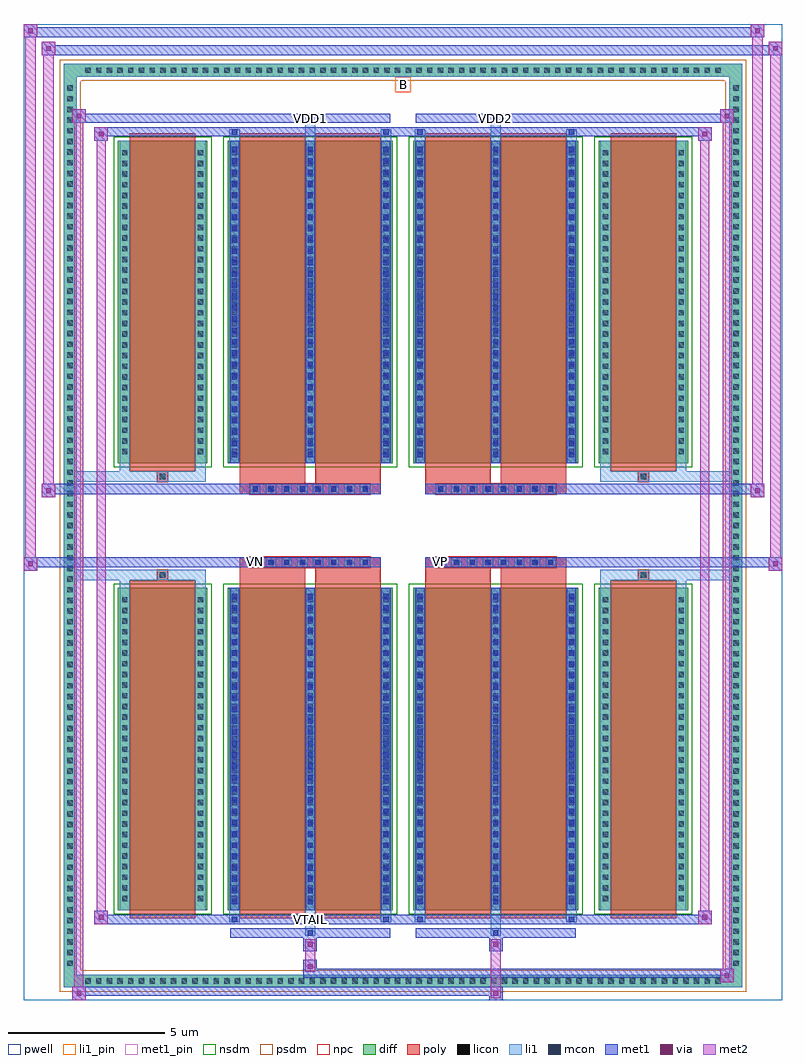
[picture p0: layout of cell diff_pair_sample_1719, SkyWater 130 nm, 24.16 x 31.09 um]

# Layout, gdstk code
import gdstk
lib = gdstk.Library(unit=1e-6, precision=5e-09)
def R(c, l, rs):  # rectangles x0, y0, x1, y1
    for r in rs: c.add(gdstk.rectangle(r[:2], r[2:], *l))
def A(c, l, x, y, w, h, nx, ny, dx, dy):  # array of equal rectangles
    R(c, l, [(x+i*dx, y+j*dy, x+i*dx+w, y+j*dy+h) for i in range(nx) for j in range(ny)])
def P(c, l, *ps):  # polygons
    for p in ps: c.add(gdstk.Polygon(p, *l))
pwell = (64, 44)
diff = (65, 20)
poly = (66, 20)
licon = (66, 44)
li1_pin = (67, 16)
li1 = (67, 20)
mcon = (67, 44)
met1_pin = (68, 16)
met1 = (68, 20)
via = (68, 44)
met2 = (69, 20)
nsdm = (93, 44)
psdm = (94, 20)
npc = (95, 20)

diff_pair_sample_1719 = lib.new_cell('diff_pair_sample_1719')
R(diff_pair_sample_1719, pwell, [(-12.08,-15.11,12.08,15.98), (-9.4,-13.3,-0.01,-0.8), (0.01,-13.3,9.4,-0.8), (-9.4,0.8,-0.01,13.3), (0.01,0.8,9.4,13.3)])
A(diff_pair_sample_1719, diff, -10.235, -14.71, 0.41, 0.41, 60, 2, 0.34, 29.01)
A(diff_pair_sample_1719, diff, -10.81, -14.145, 0.41, 0.41, 1, 83, 0, 0.34)
A(diff_pair_sample_1719, diff, 10.4, -14.145, 0.41, 0.41, 1, 83, 0, 0.34)
R(diff_pair_sample_1719, diff, [(-10.235,-14.71,10.235,-14.3), (-10.81,-14.145,-10.4,14.145), (10.4,-14.145,10.81,14.145), (-9.09,-12.255,-6.23,-1.985), (-5.59,-12.255,-0.32,-1.985), (0.32,-12.255,5.59,-1.985), (6.23,-12.255,9.09,-1.985), (-9.09,1.985,-6.23,12.255), (-5.59,1.985,-0.32,12.255), (0.32,1.985,5.59,12.255), (6.23,1.985,9.09,12.255), (-10.235,14.3,10.235,14.71)])
P(diff_pair_sample_1719, diff, [(10.81,14.71),(-10.81,14.71),(-10.81,-14.3),(-10.4,-14.3),(-10.4,14.3),(10.4,14.3),(10.4,-14.3),(-10.4,-14.3),(-10.81,-14.3),(-10.81,-14.71),(10.81,-14.71)])
A(diff_pair_sample_1719, poly, -4.87, -1.33, 0.33, 0.33, 8, 2, 0.5, 2.33)
A(diff_pair_sample_1719, poly, 1.04, -1.33, 0.33, 0.33, 8, 2, 0.5, 2.33)
R(diff_pair_sample_1719, poly, [(-8.7,-12.505,-6.62,-1.735), (-5.2,-12.505,-3.12,-1.735), (-2.79,-12.505,-0.71,-1.735), (0.71,-12.505,2.79,-1.735), (3.12,-12.505,5.2,-1.735), (6.62,-12.505,8.7,-1.735), (-7.825,-1.735,-7.495,-1.405), (-7.825,-1.735,-7.495,-1.405), (-5.2,-1.735,-3.12,-1.33), (-2.79,-1.735,-0.71,-1.33), (0.71,-1.735,2.79,-1.33), (3.12,-1.735,5.2,-1.33), (7.495,-1.735,7.825,-1.405), (7.495,-1.735,7.825,-1.405), (-5.2,-1.33,-0.71,-1), (0.71,-1.33,5.2,-1), (-5.2,1,-0.71,1.33), (0.71,1,5.2,1.33), (-5.2,1.33,-3.12,1.735), (-2.79,1.33,-0.71,1.735), (0.71,1.33,2.79,1.735), (3.12,1.33,5.2,1.735), (-7.825,1.405,-7.495,1.735), (-7.825,1.405,-7.495,1.735), (7.495,1.405,7.825,1.735), (7.495,1.405,7.825,1.735), (-8.7,1.735,-6.62,12.505), (-5.2,1.735,-3.12,12.505), (-2.79,1.735,-0.71,12.505), (0.71,1.735,2.79,12.505), (3.12,1.735,5.2,12.505), (6.62,1.735,8.7,12.505)])
A(diff_pair_sample_1719, licon, -10.115, -14.59, 0.17, 0.17, 60, 2, 0.34, 29.01)
A(diff_pair_sample_1719, licon, -10.69, -14.025, 0.17, 0.17, 1, 83, 0, 0.34)
A(diff_pair_sample_1719, licon, 10.52, -14.025, 0.17, 0.17, 1, 83, 0, 0.34)
A(diff_pair_sample_1719, licon, -8.95, -11.965, 0.17, 0.17, 1, 29, 0, 0.34)
A(diff_pair_sample_1719, licon, -6.54, -11.965, 0.17, 0.17, 1, 29, 0, 0.34)
A(diff_pair_sample_1719, licon, -5.45, -11.965, 0.17, 0.17, 3, 29, 2.41, 0.34)
A(diff_pair_sample_1719, licon, 0.46, -11.965, 0.17, 0.17, 3, 29, 2.41, 0.34)
A(diff_pair_sample_1719, licon, 6.37, -11.965, 0.17, 0.17, 1, 29, 0, 0.34)
A(diff_pair_sample_1719, licon, 8.78, -11.965, 0.17, 0.17, 1, 29, 0, 0.34)
A(diff_pair_sample_1719, licon, -4.79, -1.25, 0.17, 0.17, 8, 2, 0.5, 2.33)
A(diff_pair_sample_1719, licon, 1.12, -1.25, 0.17, 0.17, 8, 2, 0.5, 2.33)
A(diff_pair_sample_1719, licon, -8.95, 2.275, 0.17, 0.17, 1, 29, 0, 0.34)
A(diff_pair_sample_1719, licon, -6.54, 2.275, 0.17, 0.17, 1, 29, 0, 0.34)
A(diff_pair_sample_1719, licon, -5.45, 2.275, 0.17, 0.17, 3, 29, 2.41, 0.34)
A(diff_pair_sample_1719, licon, 0.46, 2.275, 0.17, 0.17, 3, 29, 2.41, 0.34)
A(diff_pair_sample_1719, licon, 6.37, 2.275, 0.17, 0.17, 1, 29, 0, 0.34)
A(diff_pair_sample_1719, licon, 8.78, 2.275, 0.17, 0.17, 1, 29, 0, 0.34)
R(diff_pair_sample_1719, licon, [(-7.745,-1.655,-7.575,-1.485), (7.575,-1.655,7.745,-1.485), (-7.745,1.485,-7.575,1.655), (7.575,1.485,7.745,1.655)])
R(diff_pair_sample_1719, li1_pin, [(-0.25,13.8,0.25,14.3)])
A(diff_pair_sample_1719, li1, -10.195, -14.67, 0.33, 0.33, 60, 2, 0.34, 29.01)
A(diff_pair_sample_1719, li1, -10.77, -14.105, 0.33, 0.33, 1, 83, 0, 0.34)
A(diff_pair_sample_1719, li1, 10.44, -14.105, 0.33, 0.33, 1, 83, 0, 0.34)
A(diff_pair_sample_1719, li1, -5.53, -12.255, 0.33, 10.27, 3, 2, 2.41, 14.24)
A(diff_pair_sample_1719, li1, 0.38, -12.255, 0.33, 10.27, 3, 2, 2.41, 14.24)
A(diff_pair_sample_1719, li1, -5.45, -12.065, 0.17, 0.17, 3, 28, 2.41, 0.36)
A(diff_pair_sample_1719, li1, -5.45, -12.065, 0.17, 9.89, 3, 2, 2.41, 14.24)
A(diff_pair_sample_1719, li1, 0.46, -12.065, 0.17, 0.17, 3, 28, 2.41, 0.36)
A(diff_pair_sample_1719, li1, 0.46, -12.065, 0.17, 9.89, 3, 2, 2.41, 14.24)
A(diff_pair_sample_1719, li1, -9.03, -12.045, 0.33, 0.33, 1, 29, 0, 0.34)
A(diff_pair_sample_1719, li1, -6.62, -12.045, 0.33, 0.33, 1, 29, 0, 0.34)
A(diff_pair_sample_1719, li1, -5.53, -12.045, 0.33, 0.33, 3, 29, 2.41, 0.34)
A(diff_pair_sample_1719, li1, 0.38, -12.045, 0.33, 0.33, 3, 29, 2.41, 0.34)
A(diff_pair_sample_1719, li1, 6.29, -12.045, 0.33, 0.33, 1, 29, 0, 0.34)
A(diff_pair_sample_1719, li1, 8.7, -12.045, 0.33, 0.33, 1, 29, 0, 0.34)
A(diff_pair_sample_1719, li1, -4.87, -1.33, 0.33, 0.33, 8, 2, 0.5, 2.33)
A(diff_pair_sample_1719, li1, 1.04, -1.33, 0.33, 0.33, 8, 2, 0.5, 2.33)
A(diff_pair_sample_1719, li1, -5.45, 2.175, 0.17, 0.17, 3, 28, 2.41, 0.36)
A(diff_pair_sample_1719, li1, 0.46, 2.175, 0.17, 0.17, 3, 28, 2.41, 0.36)
A(diff_pair_sample_1719, li1, -9.03, 2.195, 0.33, 0.33, 1, 29, 0, 0.34)
A(diff_pair_sample_1719, li1, -6.62, 2.195, 0.33, 0.33, 1, 29, 0, 0.34)
A(diff_pair_sample_1719, li1, -5.53, 2.195, 0.33, 0.33, 3, 29, 2.41, 0.34)
A(diff_pair_sample_1719, li1, 0.38, 2.195, 0.33, 0.33, 3, 29, 2.41, 0.34)
A(diff_pair_sample_1719, li1, 6.29, 2.195, 0.33, 0.33, 1, 29, 0, 0.34)
A(diff_pair_sample_1719, li1, 8.7, 2.195, 0.33, 0.33, 1, 29, 0, 0.34)
R(diff_pair_sample_1719, li1, [(-10.81,-14.71,-10.4,-14.3), (-10.81,-14.71,-10.4,-14.3), (-10.4,-14.71,10.4,-14.3), (10.4,-14.71,10.81,-14.3), (10.4,-14.71,10.81,-14.3), (-10.81,-14.3,-10.4,14.3), (10.4,-14.3,10.81,14.3), (-3.12,-13.06,-2.79,-12.255), (-3.04,-13.06,-2.87,-12.89), (2.79,-13.06,3.12,-12.255), (2.87,-13.06,3.04,-12.89), (-5.53,-12.63,-5.2,-12.255), (-5.45,-12.63,-5.28,-12.46), (-0.71,-12.63,-0.38,-12.255), (-0.63,-12.63,-0.46,-12.46), (0.38,-12.63,0.71,-12.255), (0.46,-12.63,0.63,-12.46), (5.2,-12.63,5.53,-12.255), (5.28,-12.63,5.45,-12.46), (-9.03,-12.255,-8.7,-1.985), (-6.62,-12.255,-6.29,-1.985), (6.29,-12.255,6.62,-1.985), (8.7,-12.255,9.03,-1.985), (-9.03,-1.985,-8.7,-1.405), (-6.62,-1.985,-6.29,-1.405), (6.29,-1.985,6.62,-1.405), (8.7,-1.985,9.03,-1.405), (-10.81,-1.735,-7.825,-1.405), (-9.03,-1.735,-7.825,-1.405), (-7.825,-1.735,-7.495,-1.405), (-7.495,-1.735,-6.29,-1.405), (6.29,-1.735,7.495,-1.405), (7.495,-1.735,7.825,-1.405), (7.495,-1.735,10.81,-1.405), (7.825,-1.735,9.03,-1.405), (-10.81,1.405,-7.825,1.735), (-9.03,1.405,-7.825,1.735), (-9.03,1.405,-8.7,1.985), (-7.825,1.405,-7.495,1.735), (-7.495,1.405,-6.29,1.735), (-6.62,1.405,-6.29,1.985), (6.29,1.405,7.495,1.735), (6.29,1.405,6.62,1.985), (7.495,1.405,7.825,1.735), (7.495,1.405,10.81,1.735), (7.825,1.405,9.03,1.735), (8.7,1.405,9.03,1.985), (-9.03,1.985,-8.7,12.255), (-6.62,1.985,-6.29,12.255), (6.29,1.985,6.62,12.255), (8.7,1.985,9.03,12.255), (-5.53,12.255,-5.2,12.63), (-3.12,12.255,-2.79,13.06), (-0.71,12.255,-0.38,12.63), (0.38,12.255,0.71,12.63), (2.79,12.255,3.12,13.06), (5.2,12.255,5.53,12.63), (-5.45,12.46,-5.28,12.63), (-0.63,12.46,-0.46,12.63), (0.46,12.46,0.63,12.63), (5.28,12.46,5.45,12.63), (-3.04,12.89,-2.87,13.06), (2.87,12.89,3.04,13.06), (-10.81,14.3,-10.4,14.71), (-10.81,14.3,-10.4,14.71), (-10.4,14.3,10.4,14.71), (10.4,14.3,10.81,14.71), (10.4,14.3,10.81,14.71)])
A(diff_pair_sample_1719, mcon, -5.45, -12.065, 0.17, 0.17, 3, 28, 2.41, 0.36)
A(diff_pair_sample_1719, mcon, 0.46, -12.065, 0.17, 0.17, 3, 28, 2.41, 0.36)
A(diff_pair_sample_1719, mcon, -4.79, -1.25, 0.17, 0.17, 8, 2, 0.5, 2.33)
A(diff_pair_sample_1719, mcon, 1.12, -1.25, 0.17, 0.17, 8, 2, 0.5, 2.33)
A(diff_pair_sample_1719, mcon, -5.45, 2.175, 0.17, 0.17, 3, 28, 2.41, 0.36)
A(diff_pair_sample_1719, mcon, 0.46, 2.175, 0.17, 0.17, 3, 28, 2.41, 0.36)
R(diff_pair_sample_1719, mcon, [(-3.04,-13.06,-2.87,-12.89), (2.87,-13.06,3.04,-12.89), (-5.45,-12.63,-5.28,-12.46), (-0.63,-12.63,-0.46,-12.46), (0.46,-12.63,0.63,-12.46), (5.28,-12.63,5.45,-12.46), (-5.45,12.46,-5.28,12.63), (-0.63,12.46,-0.46,12.63), (0.46,12.46,0.63,12.63), (5.28,12.46,5.45,12.63), (-3.04,12.89,-2.87,13.06), (2.87,12.89,3.04,13.06)])
R(diff_pair_sample_1719, met1_pin, [(-3.09,-12.67,-2.82,-12.4), (-4.84,-1.29,-4.57,-1.02), (1.07,-1.29,1.34,-1.02), (-3.09,12.85,-2.82,13.12), (2.82,12.85,3.09,13.12)])
A(diff_pair_sample_1719, met1, -5.51, -12.255, 0.29, 10.27, 3, 2, 2.41, 14.24)
A(diff_pair_sample_1719, met1, 0.4, -12.255, 0.29, 10.27, 3, 2, 2.41, 14.24)
A(diff_pair_sample_1719, met1, -5.51, -12.125, 0.29, 0.29, 3, 28, 2.41, 0.36)
A(diff_pair_sample_1719, met1, 0.4, -12.125, 0.29, 0.29, 3, 28, 2.41, 0.36)
A(diff_pair_sample_1719, met1, -4.85, -1.31, 0.29, 0.29, 8, 2, 0.5, 2.33)
A(diff_pair_sample_1719, met1, 1.06, -1.31, 0.29, 0.29, 8, 2, 0.5, 2.33)
A(diff_pair_sample_1719, met1, -5.51, 2.115, 0.29, 0.29, 3, 28, 2.41, 0.36)
A(diff_pair_sample_1719, met1, 0.4, 2.115, 0.29, 0.29, 3, 28, 2.41, 0.36)
R(diff_pair_sample_1719, met1, [(-10.54,-15.11,-10.11,-14.68), (2.74,-15.11,3.17,-14.68), (-10.54,-14.97,3.17,-14.68), (10.11,-14.54,10.54,-14.11), (-3.17,-14.4,10.54,-14.11), (-3.17,-14.26,-2.74,-13.83), (-3.17,-13.55,-2.74,-13.12), (2.74,-13.55,3.17,-13.12), (-5.51,-13.12,-0.4,-12.83), (-3.1,-13.12,-2.81,-12.83), (0.4,-13.12,5.51,-12.83), (2.81,-13.12,3.1,-12.83), (-9.83,-12.69,-9.4,-12.26), (-9.83,-12.69,-5.51,-12.4), (-5.51,-12.69,-5.22,-12.4), (-5.51,-12.69,-0.4,-12.4), (-0.69,-12.69,-0.4,-12.4), (-0.4,-12.69,0.4,-12.4), (0.4,-12.69,0.69,-12.4), (0.4,-12.69,5.51,-12.4), (5.22,-12.69,5.51,-12.4), (5.51,-12.69,9.83,-12.4), (9.4,-12.69,9.83,-12.26), (-12.08,-1.43,-11.65,-1), (11.65,-1.43,12.08,-1), (-12.08,-1.33,-0.71,-1), (-5.2,-1.33,-0.71,-1), (0.71,-1.33,5.2,-1), (0.71,-1.33,12.08,-1), (-11.51,0.9,-11.08,1.33), (11.08,0.9,11.51,1.33), (-11.51,1,-5.2,1.33), (-5.2,1,-0.71,1.33), (0.71,1,5.2,1.33), (5.2,1,11.51,1.33), (-9.83,12.26,-9.4,12.69), (9.4,12.26,9.83,12.69), (-9.83,12.4,-5.51,12.69), (-5.51,12.4,-5.22,12.69), (-5.51,12.4,-0.4,12.69), (-0.69,12.4,-0.4,12.69), (-0.4,12.4,0.4,12.69), (0.4,12.4,0.69,12.69), (0.4,12.4,5.51,12.69), (5.22,12.4,5.51,12.69), (5.51,12.4,9.83,12.69), (-10.54,12.83,-10.11,13.26), (-10.54,12.83,-5.51,13.12), (-5.51,12.83,-0.4,13.12), (-3.1,12.83,-2.81,13.12), (0.4,12.83,5.51,13.12), (2.81,12.83,3.1,13.12), (5.51,12.83,10.54,13.12), (10.11,12.83,10.54,13.26), (-11.51,14.98,-11.08,15.41), (-11.51,14.98,-9.4,15.31), (-9.4,14.98,9.4,15.31), (9.4,14.98,12.08,15.31), (11.65,14.98,12.08,15.41), (-12.08,15.55,-11.65,15.98), (-12.08,15.55,-9.4,15.88), (-9.4,15.55,9.4,15.88), (9.4,15.55,11.51,15.88), (11.08,15.55,11.51,15.98)])
R(diff_pair_sample_1719, via, [(-10.4,-14.97,-10.25,-14.82), (2.88,-14.97,3.03,-14.82), (10.25,-14.4,10.4,-14.25), (-3.03,-14.12,-2.88,-13.97), (-3.03,-13.41,-2.88,-13.26), (2.88,-13.41,3.03,-13.26), (-9.69,-12.55,-9.54,-12.4), (9.54,-12.55,9.69,-12.4), (-11.94,-1.29,-11.79,-1.14), (11.79,-1.29,11.94,-1.14), (-11.37,1.04,-11.22,1.19), (11.22,1.04,11.37,1.19), (-9.69,12.4,-9.54,12.55), (9.54,12.4,9.69,12.55), (-10.4,12.97,-10.25,13.12), (10.25,12.97,10.4,13.12), (-11.37,15.12,-11.22,15.27), (11.79,15.12,11.94,15.27), (-11.94,15.69,-11.79,15.84), (11.22,15.69,11.37,15.84)])
R(diff_pair_sample_1719, met2, [(-10.54,-15.11,-10.11,-14.68), (-10.47,-15.11,-10.18,13.26), (-10.18,-15.11,-10.11,-14.68), (-10.49,-15.06,-10.16,-14.73), (2.79,-15.06,3.12,-14.73), (2.79,-14.73,3.12,-13.5), (10.11,-14.54,10.54,-14.11), (10.18,-14.54,10.47,13.26), (10.47,-14.54,10.54,-14.11), (10.16,-14.49,10.49,-14.16), (-3.12,-14.21,-2.79,-13.88), (-3.12,-13.88,-2.79,-13.5), (-3.12,-13.5,-2.79,-13.17), (2.79,-13.5,3.12,-13.17), (-9.83,-12.69,-9.4,-12.26), (-9.76,-12.69,-9.47,12.69), (-9.47,-12.69,-9.4,-12.26), (9.4,-12.69,9.83,-12.26), (9.47,-12.69,9.76,12.69), (9.76,-12.69,9.83,-12.26), (-9.78,-12.64,-9.45,-12.31), (9.45,-12.64,9.78,-12.31), (-12.08,-1.43,-11.65,-1), (-12.03,-1.43,-11.7,15.98), (-11.7,-1.43,-11.65,-1), (11.65,-1.43,12.08,-1), (11.7,-1.43,12.03,15.41), (12.03,-1.43,12.08,-1), (-12.03,-1.38,-11.7,-1.05), (11.7,-1.38,12.03,-1.05), (-11.51,0.9,-11.08,1.33), (-11.46,0.9,-11.13,15.41), (-11.13,0.9,-11.08,1.33), (11.08,0.9,11.51,1.33), (11.13,0.9,11.46,15.98), (11.46,0.9,11.51,1.33), (-11.46,0.95,-11.13,1.28), (11.13,0.95,11.46,1.28), (-9.83,12.26,-9.4,12.69), (-9.47,12.26,-9.4,12.69), (9.4,12.26,9.83,12.69), (9.76,12.26,9.83,12.69), (-9.78,12.31,-9.45,12.64), (9.45,12.31,9.78,12.64), (-10.54,12.83,-10.11,13.26), (-10.18,12.83,-10.11,13.26), (10.11,12.83,10.54,13.26), (10.47,12.83,10.54,13.26), (-10.49,12.88,-10.16,13.21), (10.16,12.88,10.49,13.21), (-11.51,14.98,-11.08,15.41), (-11.13,14.98,-11.08,15.41), (11.65,14.98,12.08,15.41), (12.03,14.98,12.08,15.41), (-11.46,15.03,-11.13,15.36), (11.7,15.03,12.03,15.36), (-12.08,15.55,-11.65,15.98), (-11.7,15.55,-11.65,15.98), (11.08,15.55,11.51,15.98), (11.46,15.55,11.51,15.98), (-12.03,15.6,-11.7,15.93), (11.13,15.6,11.46,15.93)])
R(diff_pair_sample_1719, nsdm, [(-9.22,-12.385,-6.1,-1.855), (-5.72,-12.385,-0.19,-1.855), (0.19,-12.385,5.72,-1.855), (6.1,-12.385,9.22,-1.855), (-9.22,1.855,-6.1,12.385), (-5.72,1.855,-0.19,12.385), (0.19,1.855,5.72,12.385), (6.1,1.855,9.22,12.385)])
P(diff_pair_sample_1719, psdm, [(10.94,14.84),(-10.94,14.84),(-10.94,-14.17),(-10.27,-14.17),(-10.27,14.17),(10.27,14.17),(10.27,-14.17),(-10.27,-14.17),(-10.94,-14.17),(-10.94,-14.84),(10.94,-14.84)])
A(diff_pair_sample_1719, npc, -4.89, -1.35, 0.37, 0.37, 8, 2, 0.5, 2.33)
A(diff_pair_sample_1719, npc, 1.02, -1.35, 0.37, 0.37, 8, 2, 0.5, 2.33)
R(diff_pair_sample_1719, npc, [(-7.845,-1.755,-7.475,-1.385), (7.475,-1.755,7.845,-1.385), (-4.89,-1.35,-4.02,-0.98), (-4.89,-1.35,-4.02,-0.98), (-4.39,-1.35,-3.52,-0.98), (-4.39,-1.35,-3.52,-0.98), (-3.89,-1.35,-3.02,-0.98), (-3.89,-1.35,-3.02,-0.98), (-3.39,-1.35,-2.52,-0.98), (-3.39,-1.35,-2.52,-0.98), (-2.89,-1.35,-2.02,-0.98), (-2.89,-1.35,-2.02,-0.98), (-2.39,-1.35,-1.52,-0.98), (-2.39,-1.35,-1.52,-0.98), (-1.89,-1.35,-1.02,-0.98), (-1.89,-1.35,-1.02,-0.98), (1.02,-1.35,1.89,-0.98), (1.02,-1.35,1.89,-0.98), (1.52,-1.35,2.39,-0.98), (1.52,-1.35,2.39,-0.98), (2.02,-1.35,2.89,-0.98), (2.02,-1.35,2.89,-0.98), (2.52,-1.35,3.39,-0.98), (2.52,-1.35,3.39,-0.98), (3.02,-1.35,3.89,-0.98), (3.02,-1.35,3.89,-0.98), (3.52,-1.35,4.39,-0.98), (3.52,-1.35,4.39,-0.98), (4.02,-1.35,4.89,-0.98), (4.02,-1.35,4.89,-0.98), (-4.89,0.98,-4.02,1.35), (-4.89,0.98,-4.02,1.35), (-4.39,0.98,-3.52,1.35), (-4.39,0.98,-3.52,1.35), (-3.89,0.98,-3.02,1.35), (-3.89,0.98,-3.02,1.35), (-3.39,0.98,-2.52,1.35), (-3.39,0.98,-2.52,1.35), (-2.89,0.98,-2.02,1.35), (-2.89,0.98,-2.02,1.35), (-2.39,0.98,-1.52,1.35), (-2.39,0.98,-1.52,1.35), (-1.89,0.98,-1.02,1.35), (-1.89,0.98,-1.02,1.35), (1.02,0.98,1.89,1.35), (1.02,0.98,1.89,1.35), (1.52,0.98,2.39,1.35), (1.52,0.98,2.39,1.35), (2.02,0.98,2.89,1.35), (2.02,0.98,2.89,1.35), (2.52,0.98,3.39,1.35), (2.52,0.98,3.39,1.35), (3.02,0.98,3.89,1.35), (3.02,0.98,3.89,1.35), (3.52,0.98,4.39,1.35), (3.52,0.98,4.39,1.35), (4.02,0.98,4.89,1.35), (4.02,0.98,4.89,1.35), (-7.845,1.385,-7.475,1.755), (7.475,1.385,7.845,1.755)])
diff_pair_sample_1719.add(gdstk.Label('VTAIL', (-2.955,-12.535), layer=68, texttype=5))
diff_pair_sample_1719.add(gdstk.Label('VN', (-4.705,-1.155), layer=68, texttype=5))
diff_pair_sample_1719.add(gdstk.Label('VP', (1.205,-1.155), layer=68, texttype=5))
diff_pair_sample_1719.add(gdstk.Label('B', (0,14.05), layer=67, texttype=5))
diff_pair_sample_1719.add(gdstk.Label('VDD2', (2.955,12.985), layer=68, texttype=5))
diff_pair_sample_1719.add(gdstk.Label('VDD1', (-2.955,12.985), layer=68, texttype=5))

lib.write_gds('diff_pair_sample_1719.gds')
